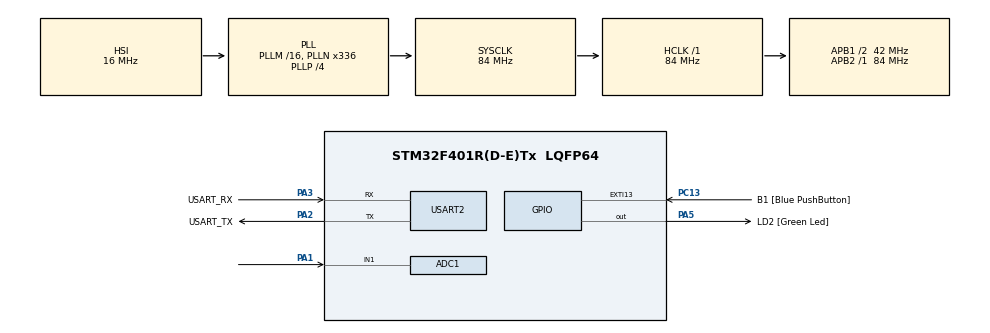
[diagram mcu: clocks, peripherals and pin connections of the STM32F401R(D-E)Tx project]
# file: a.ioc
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ADC1.Channel-0\#ChannelRegularConversion=ADC_CHANNEL_1
ADC1.Channel-1\#ChannelRegularConversion=ADC_CHANNEL_TEMPSENSOR
ADC1.Channel-2\#ChannelRegularConversion=ADC_CHANNEL_VREFINT
ADC1.NbrOfConversion=3
ADC1.NbrOfConversionFlag=1
ADC1.Rank-0\#ChannelRegularConversion=1
ADC1.Rank-1\#ChannelRegularConversion=2
ADC1.Rank-2\#ChannelRegularConversion=3
ADC1.SamplingTime-0\#ChannelRegularConversion=ADC_SAMPLETIME_480CYCLES
ADC1.SamplingTime-1\#ChannelRegularConversion=ADC_SAMPLETIME_480CYCLES
ADC1.SamplingTime-2\#ChannelRegularConversion=ADC_SAMPLETIME_480CYCLES
ADC1.master=1
Dma.ADC1.0.Direction=DMA_PERIPH_TO_MEMORY
Dma.ADC1.0.FIFOMode=DMA_FIFOMODE_DISABLE
Dma.ADC1.0.Instance=DMA2_Stream0
Dma.ADC1.0.MemDataAlignment=DMA_MDATAALIGN_HALFWORD
Dma.ADC1.0.MemInc=DMA_MINC_ENABLE
Dma.ADC1.0.Mode=DMA_CIRCULAR
Dma.ADC1.0.PeriphDataAlignment=DMA_PDATAALIGN_HALFWORD
Dma.ADC1.0.PeriphInc=DMA_PINC_DISABLE
Dma.ADC1.0.Priority=DMA_PRIORITY_LOW
Dma.Request0=ADC1
Mcu.Family=STM32F4
Mcu.Name=STM32F401R(D-E)Tx
Mcu.Package=LQFP64
NVIC.DMA2_Stream0_IRQn=true\:0\:0\:false\:false\:true\:false\:true\:true
NVIC.PriorityGroup=NVIC_PRIORITYGROUP_0
PA1.Signal=ADCx_IN1
PA13.GPIO_Label=TMS
PA13.Mode=Serial_Wire
PA13.Signal=SYS_JTMS-SWDIO
PA14.GPIO_Label=TCK
PA14.Mode=Serial_Wire
PA14.Signal=SYS_JTCK-SWCLK
PA2.GPIO_Label=USART_TX
PA2.GPIO_Mode=GPIO_MODE_AF_PP
PA2.GPIO_PuPd=GPIO_NOPULL
PA2.GPIO_Speed=GPIO_SPEED_FREQ_LOW
PA2.Mode=Asynchronous
PA2.Signal=USART2_TX
PA3.GPIO_Label=USART_RX
PA3.GPIO_Mode=GPIO_MODE_AF_PP
PA3.GPIO_PuPd=GPIO_NOPULL
PA3.GPIO_Speed=GPIO_SPEED_FREQ_LOW
PA3.Mode=Asynchronous
PA3.Signal=USART2_RX
PA5.GPIO_Label=LD2 [Green Led]
PA5.GPIO_Mode=GPIO_MODE_OUTPUT_PP
PA5.GPIO_PuPd=GPIO_NOPULL
PA5.GPIO_Speed=GPIO_SPEED_FREQ_LOW
PA5.Signal=GPIO_Output
PB3.GPIO_Label=SWO
PB3.Signal=SYS_JTDO-SWO
PC13-ANTI_TAMP.GPIO_Label=B1 [Blue PushButton]
PC13-ANTI_TAMP.GPIO_ModeDefaultEXTI=GPIO_MODE_IT_FALLING
PC13-ANTI_TAMP.GPIO_PuPd=GPIO_NOPULL
PC13-ANTI_TAMP.Signal=GPXTI13
PC14-OSC32_IN.Signal=RCC_OSC32_IN
PC15-OSC32_OUT.Signal=RCC_OSC32_OUT
PH0\ -\ OSC_IN.Mode=HSE-External-Clock-Source
PH0\ -\ OSC_IN.Signal=RCC_OSC_IN
PH1\ -\ OSC_OUT.Mode=HSE-External-Clock-Source
PH1\ -\ OSC_OUT.Signal=RCC_OSC_OUT
ProjectManager.HeapSize=0x200
ProjectManager.StackSize=0x400
ProjectManager.TargetToolchain=STM32CubeIDE
RCC.48MHZClocksFreq_Value=48000000
RCC.AHBFreq_Value=84000000
RCC.APB1CLKDivider=RCC_HCLK_DIV2
RCC.APB1Freq_Value=42000000
RCC.APB1TimFreq_Value=84000000
RCC.APB2Freq_Value=84000000
RCC.APB2TimFreq_Value=84000000
RCC.CortexFreq_Value=84000000
RCC.HCLKFreq_Value=84000000
RCC.HSE_VALUE=8000000
RCC.HSI_VALUE=16000000
RCC.PLLN=336
RCC.PLLP=RCC_PLLP_DIV4
RCC.PLLQ=7
RCC.SYSCLKFreq_VALUE=84000000
RCC.SYSCLKSource=RCC_SYSCLKSOURCE_PLLCLK
RCC.VCOOutputFreq_Value=336000000
SH.ADCx_IN1.0=ADC1_IN1,IN1
USART2.VirtualMode=VM_ASYNC
VP_ADC1_TempSens_Input.Mode=IN-TempSens
VP_ADC1_Vref_Input.Mode=IN-Vrefint
board=NUCLEO-F401RE

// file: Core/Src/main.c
/* USER CODE BEGIN Header */
/**
  ******************************************************************************
  * @file           : main.c
  * @brief          : Main program body
  ******************************************************************************
  * @attention
  *
  * Copyright (c) 2023 STMicroelectronics.
  * All rights reserved.
  *
  * This software is licensed under terms that can be found in the LICENSE file
  * in the root directory of this software component.
  * If no LICENSE file comes with this software, it is provided AS-IS.
  *
  ******************************************************************************
  */
/* USER CODE END Header */
#include "main.h"

/* USER CODE BEGIN Includes */
#include <string.h>
#include <stdio.h>
/* USER CODE END Includes */

/* USER CODE BEGIN PD */

// Potentiometer
#define REFERENCE 3.3f
#define MAX_ADC_VALUE 4095

// Temperature
#define V25 0.76f
#define AVG_SLOPE 0.0025f // mV/°C

/* USER CODE END PD */

ADC_HandleTypeDef hadc1;
DMA_HandleTypeDef hdma_adc1;

UART_HandleTypeDef huart2;

/* USER CODE BEGIN PV */

volatile uint16_t buffer[3];
volatile uint8_t resultValid = 0;

/* USER CODE END PV */

void SystemClock_Config(void);
static void MX_GPIO_Init(void);
static void MX_DMA_Init(void);
static void MX_USART2_UART_Init(void);
static void MX_ADC1_Init(void);

int main(void)
{
  /* USER CODE BEGIN 1 */

  char printBuffer[100];

  /* USER CODE END 1 */

  /* MCU Configuration--------------------------------------------------------*/

  /* Reset of all peripherals, Initializes the Flash interface and the Systick. */
  HAL_Init();

  /* Configure the system clock */
  SystemClock_Config();

  /* Initialize all configured peripherals */
  MX_GPIO_Init();
  MX_DMA_Init();
  MX_USART2_UART_Init();
  MX_ADC1_Init();

  /* Infinite loop */
  /* USER CODE BEGIN WHILE */
  while (1)
  {
	HAL_ADC_Start_DMA(&hadc1, (uint32_t*)buffer, 3);

	while(!resultValid){}
	resultValid = 0;

	// Convert the results
	float potentiometer = (buffer[0] * REFERENCE) / MAX_ADC_VALUE;
	float temp = (buffer[1] * REFERENCE) / MAX_ADC_VALUE;
	temp = ((temp - V25) / AVG_SLOPE) + 25;
	float vref = (buffer[2] * REFERENCE) / MAX_ADC_VALUE;

	// Print the result to screen
	sprintf(printBuffer, "Measures: %f %f %f\r\n", potentiometer, temp, vref);
	HAL_UART_Transmit(&huart2, (uint8_t *)printBuffer, strlen(printBuffer), HAL_MAX_DELAY);

	// Delay
	HAL_Delay(1000);

    /* USER CODE END WHILE */

  }
}

void SystemClock_Config(void)
{
  RCC_OscInitTypeDef RCC_OscInitStruct = {0};
  RCC_ClkInitTypeDef RCC_ClkInitStruct = {0};

  /** Configure the main internal regulator output voltage
  */
  __HAL_RCC_PWR_CLK_ENABLE();
  __HAL_PWR_VOLTAGESCALING_CONFIG(PWR_REGULATOR_VOLTAGE_SCALE2);

  /** Initializes the RCC Oscillators according to the specified parameters
  * in the RCC_OscInitTypeDef structure.
  */
  RCC_OscInitStruct.OscillatorType = RCC_OSCILLATORTYPE_HSI;
  RCC_OscInitStruct.HSIState = RCC_HSI_ON;
  RCC_OscInitStruct.HSICalibrationValue = RCC_HSICALIBRATION_DEFAULT;
  RCC_OscInitStruct.PLL.PLLState = RCC_PLL_ON;
  RCC_OscInitStruct.PLL.PLLSource = RCC_PLLSOURCE_HSI;
  RCC_OscInitStruct.PLL.PLLM = 16;
  RCC_OscInitStruct.PLL.PLLN = 336;
  RCC_OscInitStruct.PLL.PLLP = RCC_PLLP_DIV4;
  RCC_OscInitStruct.PLL.PLLQ = 7;
  if (HAL_RCC_OscConfig(&RCC_OscInitStruct) != HAL_OK)
  {
    Error_Handler();
  }

  /** Initializes the CPU, AHB and APB buses clocks
  */
  RCC_ClkInitStruct.ClockType = RCC_CLOCKTYPE_HCLK|RCC_CLOCKTYPE_SYSCLK
                              |RCC_CLOCKTYPE_PCLK1|RCC_CLOCKTYPE_PCLK2;
  RCC_ClkInitStruct.SYSCLKSource = RCC_SYSCLKSOURCE_PLLCLK;
  RCC_ClkInitStruct.AHBCLKDivider = RCC_SYSCLK_DIV1;
  RCC_ClkInitStruct.APB1CLKDivider = RCC_HCLK_DIV2;
  RCC_ClkInitStruct.APB2CLKDivider = RCC_HCLK_DIV1;

  if (HAL_RCC_ClockConfig(&RCC_ClkInitStruct, FLASH_LATENCY_2) != HAL_OK)
  {
    Error_Handler();
  }
}

static void MX_ADC1_Init(void)
{

  ADC_ChannelConfTypeDef sConfig = {0};

  /** Configure the global features of the ADC (Clock, Resolution, Data Alignment and number of conversion)
  */
  hadc1.Instance = ADC1;
  hadc1.Init.ClockPrescaler = ADC_CLOCK_SYNC_PCLK_DIV4;
  hadc1.Init.Resolution = ADC_RESOLUTION_12B;
  hadc1.Init.ScanConvMode = ENABLE;
  hadc1.Init.ContinuousConvMode = DISABLE;
  hadc1.Init.DiscontinuousConvMode = DISABLE;
  hadc1.Init.ExternalTrigConvEdge = ADC_EXTERNALTRIGCONVEDGE_NONE;
  hadc1.Init.ExternalTrigConv = ADC_SOFTWARE_START;
  hadc1.Init.DataAlign = ADC_DATAALIGN_RIGHT;
  hadc1.Init.NbrOfConversion = 3;
  hadc1.Init.DMAContinuousRequests = DISABLE;
  hadc1.Init.EOCSelection = ADC_EOC_SINGLE_CONV;
  if (HAL_ADC_Init(&hadc1) != HAL_OK)
  {
    Error_Handler();
  }

  /** Configure for the selected ADC regular channel its corresponding rank in the sequencer and its sample time.
  */
  sConfig.Channel = ADC_CHANNEL_1;
  sConfig.Rank = 1;
  sConfig.SamplingTime = ADC_SAMPLETIME_480CYCLES;
  if (HAL_ADC_ConfigChannel(&hadc1, &sConfig) != HAL_OK)
  {
    Error_Handler();
  }

  /** Configure for the selected ADC regular channel its corresponding rank in the sequencer and its sample time.
  */
  sConfig.Channel = ADC_CHANNEL_TEMPSENSOR;
  sConfig.Rank = 2;
  if (HAL_ADC_ConfigChannel(&hadc1, &sConfig) != HAL_OK)
  {
    Error_Handler();
  }

  /** Configure for the selected ADC regular channel its corresponding rank in the sequencer and its sample time.
  */
  sConfig.Channel = ADC_CHANNEL_VREFINT;
  sConfig.Rank = 3;
  if (HAL_ADC_ConfigChannel(&hadc1, &sConfig) != HAL_OK)
  {
    Error_Handler();
  }

}

static void MX_USART2_UART_Init(void)
{

  huart2.Instance = USART2;
  huart2.Init.BaudRate = 115200;
  huart2.Init.WordLength = UART_WORDLENGTH_8B;
  huart2.Init.StopBits = UART_STOPBITS_1;
  huart2.Init.Parity = UART_PARITY_NONE;
  huart2.Init.Mode = UART_MODE_TX_RX;
  huart2.Init.HwFlowCtl = UART_HWCONTROL_NONE;
  huart2.Init.OverSampling = UART_OVERSAMPLING_16;
  if (HAL_UART_Init(&huart2) != HAL_OK)
  {
    Error_Handler();
  }

}

static void MX_DMA_Init(void)
{

  /* DMA controller clock enable */
  __HAL_RCC_DMA2_CLK_ENABLE();

  /* DMA interrupt init */
  /* DMA2_Stream0_IRQn interrupt configuration */
  HAL_NVIC_SetPriority(DMA2_Stream0_IRQn, 0, 0);
  HAL_NVIC_EnableIRQ(DMA2_Stream0_IRQn);

}

static void MX_GPIO_Init(void)
{
  GPIO_InitTypeDef GPIO_InitStruct = {0};

  /* GPIO Ports Clock Enable */
  __HAL_RCC_GPIOC_CLK_ENABLE();
  __HAL_RCC_GPIOH_CLK_ENABLE();
  __HAL_RCC_GPIOA_CLK_ENABLE();
  __HAL_RCC_GPIOB_CLK_ENABLE();

  /*Configure GPIO pin Output Level */
  HAL_GPIO_WritePin(LD2_GPIO_Port, LD2_Pin, GPIO_PIN_RESET);

  /*Configure GPIO pin : B1_Pin */
  GPIO_InitStruct.Pin = B1_Pin;
  GPIO_InitStruct.Mode = GPIO_MODE_IT_FALLING;
  GPIO_InitStruct.Pull = GPIO_NOPULL;
  HAL_GPIO_Init(B1_GPIO_Port, &GPIO_InitStruct);

  /*Configure GPIO pin : LD2_Pin */
  GPIO_InitStruct.Pin = LD2_Pin;
  GPIO_InitStruct.Mode = GPIO_MODE_OUTPUT_PP;
  GPIO_InitStruct.Pull = GPIO_NOPULL;
  GPIO_InitStruct.Speed = GPIO_SPEED_FREQ_LOW;
  HAL_GPIO_Init(LD2_GPIO_Port, &GPIO_InitStruct);

}

/* USER CODE BEGIN 4 */
void HAL_ADC_ConvCpltCallback(ADC_HandleTypeDef* hadc)
{
	// Toggle the result validity flag
	resultValid = 1;
}
/* USER CODE END 4 */

void Error_Handler(void)
{
  __disable_irq();
  while (1)
  {
  }
}
